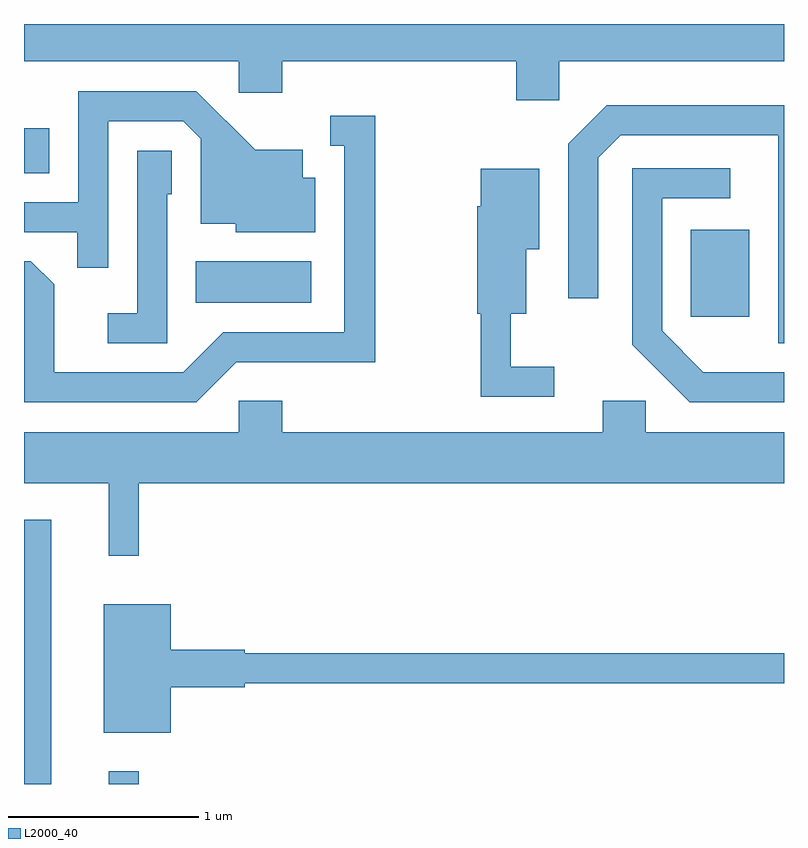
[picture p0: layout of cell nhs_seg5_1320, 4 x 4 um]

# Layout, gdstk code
import gdstk
lib = gdstk.Library(unit=1e-6, precision=1e-09)
def R(c, l, rs):  # rectangles x0, y0, x1, y1
    for r in rs: c.add(gdstk.rectangle(r[:2], r[2:], *l))
def P(c, l, *ps):  # polygons
    for p in ps: c.add(gdstk.Polygon(p, *l))
L2000_40 = (2000, 40)

nhs_seg5_1320 = lib.new_cell('nhs_seg5_1320')
R(nhs_seg5_1320, L2000_40, [(223.611,1484.072,223.754,1485.463), (224.056,1484.072,224.214,1484.138), (227.121,1486.531,227.429,1486.989), (224.516,1486.606,225.124,1486.824), (223.611,1487.286,223.744,1487.523)])
P(nhs_seg5_1320, L2000_40, [(226.429,1487.876),(227.611,1487.876),(227.611,1488.072),(223.611,1488.072),(223.611,1487.876),(224.741,1487.876),(224.741,1487.711),(224.969,1487.711),(224.969,1487.876),(226.201,1487.876),(226.201,1487.671),(226.429,1487.671)],
  [(224.054,1487.561),(224.449,1487.561),(224.541,1487.469),(224.541,1487.021),(224.726,1487.021),(224.726,1486.976),(225.144,1486.976),(225.144,1487.264),(225.079,1487.264),(225.079,1487.409),(224.827,1487.409),(224.517,1487.719),(223.896,1487.719),(223.896,1487.134),(223.611,1487.134),(223.611,1486.976),(223.891,1486.976),(223.891,1486.788),(224.054,1486.788)],
  [(227.611,1487.644),(226.679,1487.644),(226.476,1487.442),(226.476,1486.628),(226.634,1486.628),(226.634,1487.369),(226.752,1487.486),(227.581,1487.486),(227.581,1486.391),(227.611,1486.391)],
  [(224.727,1486.291),(225.459,1486.291),(225.459,1487.589),(225.223,1487.589),(225.223,1487.431),(225.296,1487.431),(225.296,1486.449),(224.659,1486.449),(224.449,1486.239),(223.769,1486.239),(223.769,1486.702),(223.647,1486.824),(223.611,1486.824),(223.611,1486.081),(224.517,1486.081)],
  [(224.364,1487.176),(224.389,1487.176),(224.389,1487.404),(224.206,1487.404),(224.206,1486.549),(224.053,1486.549),(224.053,1486.391),(224.364,1486.391)],
  [(227.611,1486.239),(227.187,1486.239),(226.969,1486.457),(226.969,1487.156),(227.328,1487.156),(227.328,1487.314),(226.811,1487.314),(226.811,1486.384),(227.114,1486.081),(227.611,1486.081)],
  [(226.403,1486.269),(226.174,1486.269),(226.174,1486.546),(226.254,1486.546),(226.254,1486.886),(226.324,1486.886),(226.324,1487.309),(226.016,1487.309),(226.016,1487.114),(225.996,1487.114),(225.996,1486.546),(226.016,1486.546),(226.016,1486.111),(226.403,1486.111)],
  [(224.214,1485.656),(227.611,1485.656),(227.611,1485.924),(226.884,1485.924),(226.884,1486.089),(226.656,1486.089),(226.656,1485.924),(224.969,1485.924),(224.969,1486.089),(224.741,1486.089),(224.741,1485.924),(223.611,1485.924),(223.611,1485.656),(224.056,1485.656),(224.056,1485.273),(224.214,1485.273)],
  [(224.384,1484.581),(224.774,1484.581),(224.774,1484.601),(227.611,1484.601),(227.611,1484.759),(224.774,1484.759),(224.774,1484.779),(224.384,1484.779),(224.384,1485.019),(224.031,1485.019),(224.031,1484.341),(224.384,1484.341)])

lib.write_gds('nhs_seg5_1320.gds')
